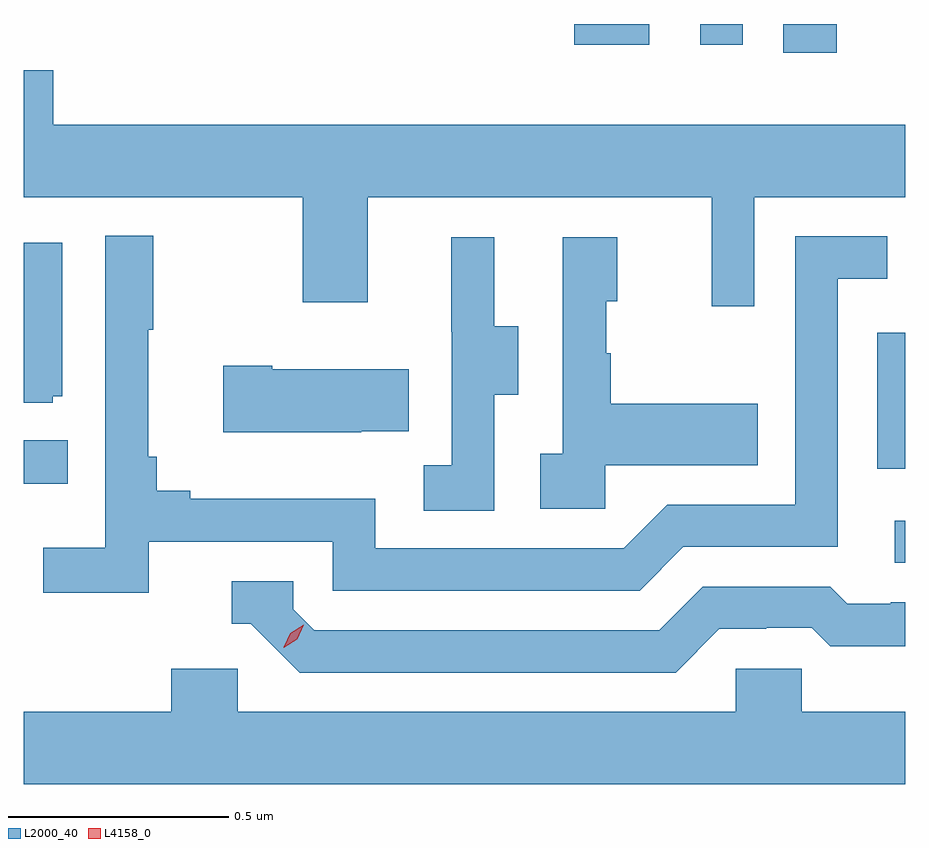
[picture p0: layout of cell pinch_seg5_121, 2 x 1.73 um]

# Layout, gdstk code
import gdstk
lib = gdstk.Library(unit=1e-6, precision=1e-09)
def R(c, l, rs):  # rectangles x0, y0, x1, y1
    for r in rs: c.add(gdstk.rectangle(r[:2], r[2:], *l))
def P(c, l, *ps):  # polygons
    for p in ps: c.add(gdstk.Polygon(p, *l))
L2000_40 = (2000, 40)
L4158_0 = (4158, 0)

pinch_seg5_121 = lib.new_cell('pinch_seg5_121')
R(pinch_seg5_121, L2000_40, [(1020.759,887.898,1020.783,887.994), (1018.783,888.077,1018.883,888.176), (1020.72,888.111,1020.783,888.42), (1020.506,889.056,1020.628,889.121), (1020.032,889.074,1020.202,889.121), (1020.318,889.074,1020.414,889.121)])
P(pinch_seg5_121, L2000_40, [(1020.441,888.728),(1020.783,888.728),(1020.783,888.892),(1018.85,888.892),(1018.85,889.016),(1018.783,889.016),(1018.783,888.728),(1019.416,888.728),(1019.416,888.489),(1019.563,888.489),(1019.563,888.728),(1020.344,888.728),(1020.344,888.48),(1020.441,888.48)],
  [(1019.066,887.946),(1019.484,887.946),(1019.484,887.835),(1020.181,887.835),(1020.28,887.934),(1020.63,887.934),(1020.63,888.543),(1020.743,888.543),(1020.743,888.639),(1020.534,888.639),(1020.534,888.03),(1020.243,888.03),(1020.144,887.931),(1019.58,887.931),(1019.58,888.043),(1019.161,888.043),(1019.161,888.062),(1019.084,888.062),(1019.084,888.139),(1019.065,888.139),(1019.065,888.427),(1019.077,888.427),(1019.077,888.64),(1018.968,888.64),(1018.968,887.932),(1018.827,887.932),(1018.827,887.83),(1019.066,887.83)],
  [(1020.102,888.119),(1020.449,888.119),(1020.449,888.259),(1020.115,888.259),(1020.115,888.374),(1020.105,888.374),(1020.105,888.492),(1020.13,888.492),(1020.13,888.637),(1020.006,888.637),(1020.006,888.146),(1019.955,888.146),(1019.955,888.021),(1020.102,888.021)],
  [(1019.85,888.28),(1019.905,888.28),(1019.905,888.435),(1019.851,888.435),(1019.851,888.637),(1019.753,888.637),(1019.753,888.423),(1019.754,888.423),(1019.754,888.119),(1019.691,888.119),(1019.691,888.016),(1019.85,888.016)],
  [(1018.848,888.276),(1018.87,888.276),(1018.87,888.625),(1018.783,888.625),(1018.783,888.261),(1018.848,888.261)],
  [(1019.549,888.197),(1019.657,888.197),(1019.657,888.337),(1019.347,888.337),(1019.347,888.345),(1019.235,888.345),(1019.235,888.194),(1019.549,888.194)],
  [(1020.361,887.748),(1020.468,887.748),(1020.468,887.751),(1020.571,887.751),(1020.613,887.709),(1020.783,887.709),(1020.783,887.808),(1020.751,887.808),(1020.751,887.805),(1020.652,887.805),(1020.613,887.844),(1020.324,887.844),(1020.225,887.745),(1019.442,887.745),(1019.394,887.793),(1019.394,887.856),(1019.255,887.856),(1019.255,887.76),(1019.298,887.76),(1019.409,887.649),(1020.262,887.649)],
  [(1020.783,887.56),(1020.549,887.56),(1020.549,887.658),(1020.399,887.658),(1020.399,887.56),(1019.268,887.56),(1019.268,887.658),(1019.117,887.658),(1019.117,887.56),(1018.783,887.56),(1018.783,887.396),(1020.783,887.396)])
P(pinch_seg5_121, L4158_0, [(1019.373,887.705),(1019.373,887.706),(1019.388,887.738),(1019.418,887.758),(1019.418,887.758),(1019.418,887.758),(1019.403,887.725),(1019.373,887.705)])

lib.write_gds('pinch_seg5_121.gds')
